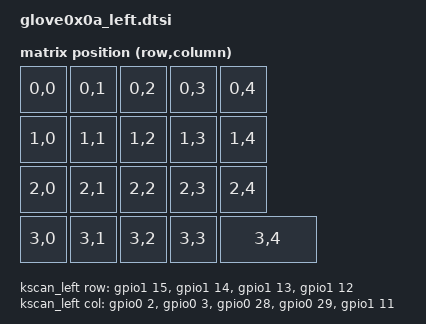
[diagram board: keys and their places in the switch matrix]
#include <dt-bindings/zmk/keys.h>
#include <dt-bindings/zmk/matrix_transform.h>
#include <physical_layouts.dtsi>

/ {
    chosen {
        zmk,physical-layout = &glove0x0a_left_layout;
    };

    /* ────────────────────────────────
     *  Matrix Transform (4×5)
     * ──────────────────────────────── */
    left_transform: matrix_transform_left {
        compatible = "zmk,matrix-transform";
        rows = <4>;
        columns = <5>;
        map = <
            RC(0,0) RC(0,1) RC(0,2) RC(0,3) RC(0,4)
            RC(1,0) RC(1,1) RC(1,2) RC(1,3) RC(1,4)
            RC(2,0) RC(2,1) RC(2,2) RC(2,3) RC(2,4)
            RC(3,0) RC(3,1) RC(3,2) RC(3,3) RC(3,4)
        >;
    };

    /* ────────────────────────────────
     *  Matrix KSCAN (4 rows × 5 cols)
     * ──────────────────────────────── */
    kscan_left: kscan {
        compatible = "zmk,kscan-gpio-matrix";
        wakeup-source;
        diode-direction = "row2col";

        /* 行（Row）: 出力 */
        row-gpios =
            <&gpio1 15 GPIO_ACTIVE_HIGH>, /* Row1: D10 P1.15 */
            <&gpio1 14 GPIO_ACTIVE_HIGH>, /* Row2: D9  P1.14 */
            <&gpio1 13 GPIO_ACTIVE_HIGH>, /* Row3: D8  P1.13 */
            <&gpio1 12 GPIO_ACTIVE_HIGH>; /* Row4: D7  P1.12 */

        /* 列（Column）: 入力（プルアップ） */
        col-gpios =
            <&gpio0  2 (GPIO_ACTIVE_HIGH | GPIO_PULL_DOWN)>, /* Col1: D0 P0.02 */
            <&gpio0  3 (GPIO_ACTIVE_HIGH | GPIO_PULL_DOWN)>, /* Col2: D1 P0.03 */
            <&gpio0 28 (GPIO_ACTIVE_HIGH | GPIO_PULL_DOWN)>, /* Col3: D2 P0.28 */
            <&gpio0 29 (GPIO_ACTIVE_HIGH | GPIO_PULL_DOWN)>, /* Col4: D3 P0.29 */
            <&gpio1 11 (GPIO_ACTIVE_HIGH | GPIO_PULL_DOWN)>; /* Col5: D6 P1.11 */
    };

    /* ────────────────────────────────
     *  Physical Layout (20 keys)
     * ──────────────────────────────── */
    glove0x0a_left_layout: glove0x0a_left_layout {
        compatible = "zmk,physical-layout";
        display-name = "Left";
        transform = <&left_transform>;
        kscan = <&kscan_left>;

        keys
            = <&key_physical_attrs 100 100    0    0 0 0 0>
            , <&key_physical_attrs 100 100  100    0 0 0 0>
            , <&key_physical_attrs 100 100  200    0 0 0 0>
            , <&key_physical_attrs 100 100  300    0 0 0 0>
            , <&key_physical_attrs 100 100  400    0 0 0 0>

            , <&key_physical_attrs 100 100    0  100 0 0 0>
            , <&key_physical_attrs 100 100  100  100 0 0 0>
            , <&key_physical_attrs 100 100  200  100 0 0 0>
            , <&key_physical_attrs 100 100  300  100 0 0 0>
            , <&key_physical_attrs 100 100  400  100 0 0 0>

            , <&key_physical_attrs 100 100    0  200 0 0 0>
            , <&key_physical_attrs 100 100  100  200 0 0 0>
            , <&key_physical_attrs 100 100  200  200 0 0 0>
            , <&key_physical_attrs 100 100  300  200 0 0 0>
            , <&key_physical_attrs 100 100  400  200 0 0 0>

            , <&key_physical_attrs 100 100    0  300 0 0 0>
            , <&key_physical_attrs 100 100  100  300 0 0 0>
            , <&key_physical_attrs 100 100  200  300 0 0 0>
            , <&key_physical_attrs 100 100  300  300 0 0 0>
            , <&key_physical_attrs 200 100  400  300 0 0 0>
        ;
    };
};

/* ────────────────────────────────
 *  Disable peripherals to free pins
 * ──────────────────────────────── */

/* D4 (P0.04), D5 (P0.05) → I2C0 */
&i2c0 {
    status = "disabled";
};

/* D12 (P0.07), D13 (P0.08) → I2S0 */
&i2s0 {
    status = "disabled";
};
